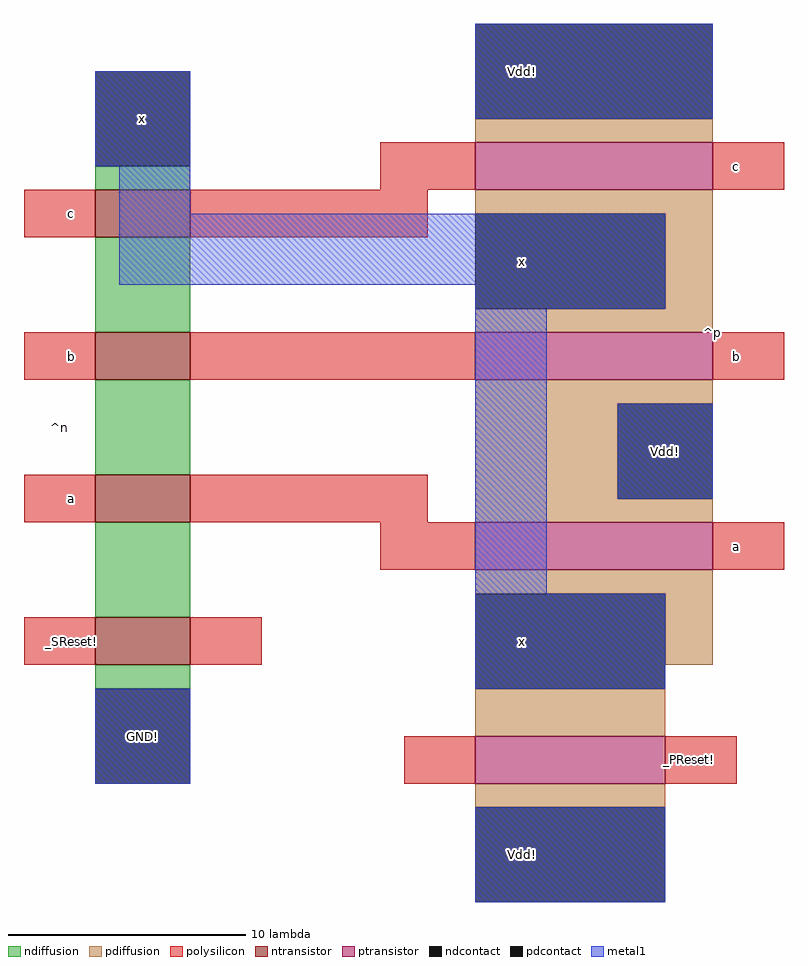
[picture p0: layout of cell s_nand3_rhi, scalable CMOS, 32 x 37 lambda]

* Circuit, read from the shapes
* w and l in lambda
.subckt s_nand3_rhi GND! Vdd! _PReset! _SReset! a b c x
M1 n1 _SReset! GND! VSUBS nfet w=4 l=2
M2 n2 a n1 VSUBS nfet w=4 l=2
M3 n3 b n2 VSUBS nfet w=4 l=2
M4 x c n3 VSUBS nfet w=4 l=2
M5 x _PReset! Vdd! NWELL pfet w=8 l=2
M6 Vdd! a x NWELL pfet w=10 l=2
M7 x b Vdd! NWELL pfet w=10 l=2
M8 Vdd! c x NWELL pfet w=10 l=2
.ends

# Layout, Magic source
magic
tech scmos
<< ndiffusion >>
rect 5 29 9 30
rect 5 23 9 27
rect 5 17 9 21
rect 5 11 9 15
rect 5 8 9 9
<< pdiffusion >>
rect 21 31 31 32
rect 21 28 31 29
rect 29 24 31 28
rect 21 23 31 24
rect 21 20 31 21
rect 21 16 27 20
rect 21 15 31 16
rect 21 12 31 13
rect 29 9 31 12
rect 21 6 29 8
rect 21 3 29 4
<< ntransistor >>
rect 5 27 9 29
rect 5 21 9 23
rect 5 15 9 17
rect 5 9 9 11
<< ptransistor >>
rect 21 29 31 31
rect 21 21 31 23
rect 21 13 31 15
rect 21 4 29 6
<< polysilicon >>
rect 17 29 21 31
rect 31 29 34 31
rect 2 27 5 29
rect 9 27 19 29
rect 2 21 5 23
rect 9 21 21 23
rect 31 21 34 23
rect 2 15 5 17
rect 9 15 19 17
rect 17 13 21 15
rect 31 13 34 15
rect 2 9 5 11
rect 9 9 12 11
rect 18 4 21 6
rect 29 4 32 6
<< ndcontact >>
rect 5 30 9 34
rect 5 4 9 8
<< pdcontact >>
rect 21 32 31 36
rect 21 24 29 28
rect 27 16 31 20
rect 21 8 29 12
rect 21 -1 29 3
<< metal1 >>
rect 5 30 9 34
rect 21 32 31 36
rect 6 28 9 30
rect 6 25 29 28
rect 21 24 29 25
rect 21 12 24 24
rect 27 16 31 20
rect 21 8 29 12
rect 5 4 9 8
rect 21 -1 29 3
<< labels >>
rlabel space 28 9 34 37 3 ^p
rlabel polysilicon 32 14 32 14 3 a
rlabel polysilicon 32 22 32 22 3 b
rlabel polysilicon 32 30 32 30 3 c
rlabel polysilicon 4 28 4 28 3 c
rlabel polysilicon 4 22 4 22 3 b
rlabel polysilicon 4 16 4 16 3 a
rlabel polysilicon 4 10 4 10 3 _SReset!
rlabel space 2 4 5 34 7 ^n
rlabel polysilicon 30 5 30 5 5 _PReset!
rlabel pdcontact 29 18 29 18 1 Vdd!
rlabel ndcontact 7 32 7 32 4 x
rlabel ndcontact 7 6 7 6 5 GND!
rlabel pdcontact 23 10 23 10 1 x
rlabel pdcontact 23 26 23 26 5 x
rlabel pdcontact 23 34 23 34 1 Vdd!
rlabel pdcontact 23 1 23 1 1 Vdd!
<< end >>
